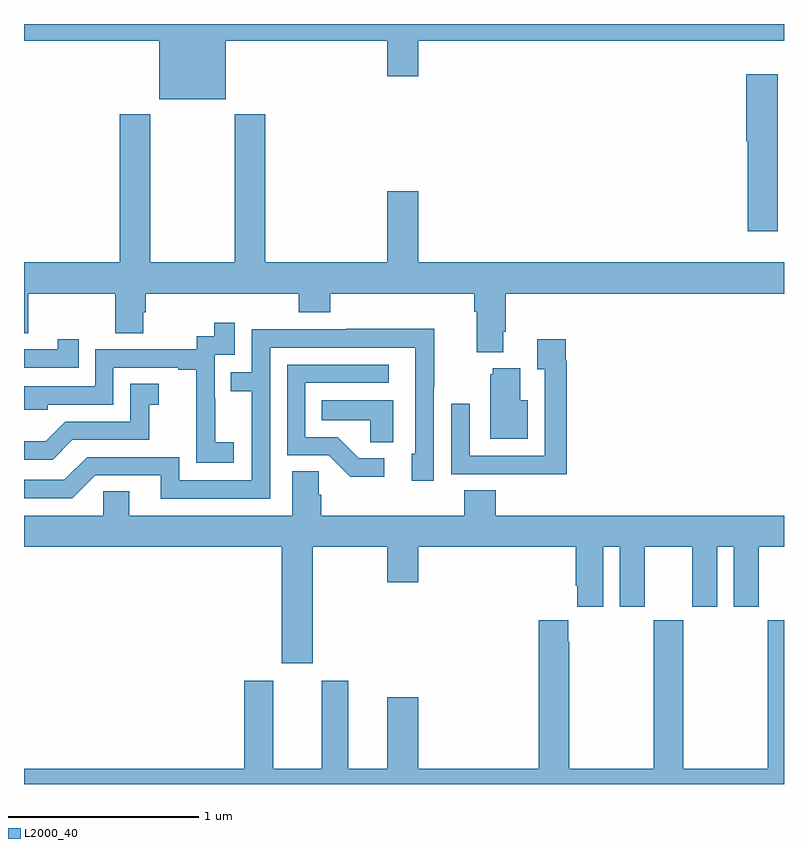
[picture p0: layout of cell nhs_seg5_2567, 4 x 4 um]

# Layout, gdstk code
import gdstk
lib = gdstk.Library(unit=1e-6, precision=1e-09)
def P(c, l, *ps):  # polygons
    for p in ps: c.add(gdstk.Polygon(p, *l))
L2000_40 = (2000, 40)

nhs_seg5_2567 = lib.new_cell('nhs_seg5_2567')
P(nhs_seg5_2567, L2000_40, [(260.062,904.712),(260.912,904.712),(260.912,904.524),(261.076,904.524),(261.076,904.712),(263,904.712),(263,904.799),(259,904.799),(259,904.712),(259.712,904.712),(259.712,904.403),(260.062,904.403)],
  [(262.966,904.534),(262.802,904.534),(262.802,904.182),(262.808,904.182),(262.808,903.708),(262.966,903.708)],
  [(259.627,903.282),(259.64,903.282),(259.64,903.38),(260.447,903.38),(260.447,903.281),(260.612,903.281),(260.612,903.38),(261.371,903.38),(261.371,903.284),(261.383,903.284),(261.383,903.071),(261.523,903.071),(261.523,903.178),(261.536,903.178),(261.536,903.38),(263,903.38),(263,903.544),(261.076,903.544),(261.076,903.919),(260.912,903.919),(260.912,903.544),(260.27,903.544),(260.27,904.324),(260.11,904.324),(260.11,903.544),(259.665,903.544),(259.665,904.324),(259.505,904.324),(259.505,903.544),(259,903.544),(259,903.172),(259.023,903.172),(259.023,903.38),(259.48,903.38),(259.48,903.172),(259.627,903.172)],
  [(260.104,902.599),(260.006,902.599),(260.006,902.828),(260.004,902.828),(260.004,903.057),(260.109,903.057),(260.109,903.226),(260.001,903.226),(260.001,903.156),(259.908,903.156),(259.908,903.087),(259.374,903.087),(259.374,902.892),(259,902.892),(259,902.769),(259.125,902.769),(259.125,902.796),(259.47,902.796),(259.47,902.991),(259.811,902.991),(259.811,902.979),(259.907,902.979),(259.907,902.695),(259.906,902.695),(259.906,902.489),(260.104,902.489)],
  [(260.295,903.096),(261.06,903.096),(261.06,902.538),(261.041,902.538),(261.041,902.394),(261.156,902.394),(261.156,902.887),(261.159,902.887),(261.159,903.194),(260.695,903.194),(260.695,903.192),(260.199,903.192),(260.199,902.967),(260.089,902.967),(260.089,902.866),(260.199,902.866),(260.199,902.397),(259.818,902.397),(259.818,902.52),(259.332,902.52),(259.212,902.4),(259,902.4),(259,902.304),(259.254,902.304),(259.374,902.424),(259.721,902.424),(259.721,902.301),(260.295,902.301)],
  [(261.857,903.026),(261.85,903.026),(261.85,903.139),(261.701,903.139),(261.701,902.983),(261.741,902.983),(261.741,902.526),(261.345,902.526),(261.345,902.8),(261.249,902.8),(261.249,902.43),(261.565,902.43),(261.565,902.429),(261.857,902.429)],
  [(259.289,903.139),(259.178,903.139),(259.178,903.087),(259,903.087),(259,902.991),(259.289,902.991)],
  [(260.896,902.514),(260.761,902.514),(260.65,902.625),(260.481,902.625),(260.481,902.91),(260.92,902.91),(260.92,903.006),(260.385,903.006),(260.385,902.529),(260.604,902.529),(260.717,902.417),(260.896,902.417)],
  [(261.652,902.818),(261.613,902.818),(261.613,902.986),(261.467,902.986),(261.467,902.955),(261.455,902.955),(261.455,902.615),(261.652,902.615)],
  [(259.255,902.61),(259.659,902.61),(259.659,902.795),(259.708,902.795),(259.708,902.905),(259.56,902.905),(259.56,902.706),(259.218,902.706),(259.114,902.602),(259,902.602),(259,902.505),(259.15,902.505)],
  [(260.944,902.818),(260.566,902.818),(260.566,902.714),(260.823,902.714),(260.823,902.599),(260.944,902.599)],
  [(260.521,902.048),(260.912,902.048),(260.912,901.86),(261.076,901.86),(261.076,902.048),(261.904,902.048),(261.904,901.843),(261.911,901.843),(261.911,901.731),(262.048,901.731),(262.048,902.048),(262.136,902.048),(262.136,901.731),(262.267,901.731),(262.267,902.048),(262.517,902.048),(262.517,901.731),(262.648,901.731),(262.648,902.048),(262.736,902.048),(262.736,901.731),(262.867,901.731),(262.867,902.048),(263,902.048),(263,902.212),(261.482,902.212),(261.482,902.345),(261.317,902.345),(261.317,902.212),(260.564,902.212),(260.564,902.321),(260.55,902.321),(260.55,902.444),(260.411,902.444),(260.411,902.212),(259.555,902.212),(259.555,902.339),(259.416,902.339),(259.416,902.212),(259,902.212),(259,902.048),(260.357,902.048),(260.357,901.434),(260.521,901.434)],
  [(263,901.66),(262.915,901.66),(262.915,900.88),(262.47,900.88),(262.47,901.66),(262.315,901.66),(262.315,900.88),(261.87,900.88),(261.87,901.547),(261.865,901.547),(261.865,901.66),(261.71,901.66),(261.71,900.88),(261.076,900.88),(261.076,901.255),(260.912,901.255),(260.912,900.88),(260.707,900.88),(260.707,901.342),(260.567,901.342),(260.567,900.88),(260.311,900.88),(260.311,901.342),(260.159,901.342),(260.159,900.88),(259,900.88),(259,900.799),(263,900.799)])

lib.write_gds('nhs_seg5_2567.gds')
